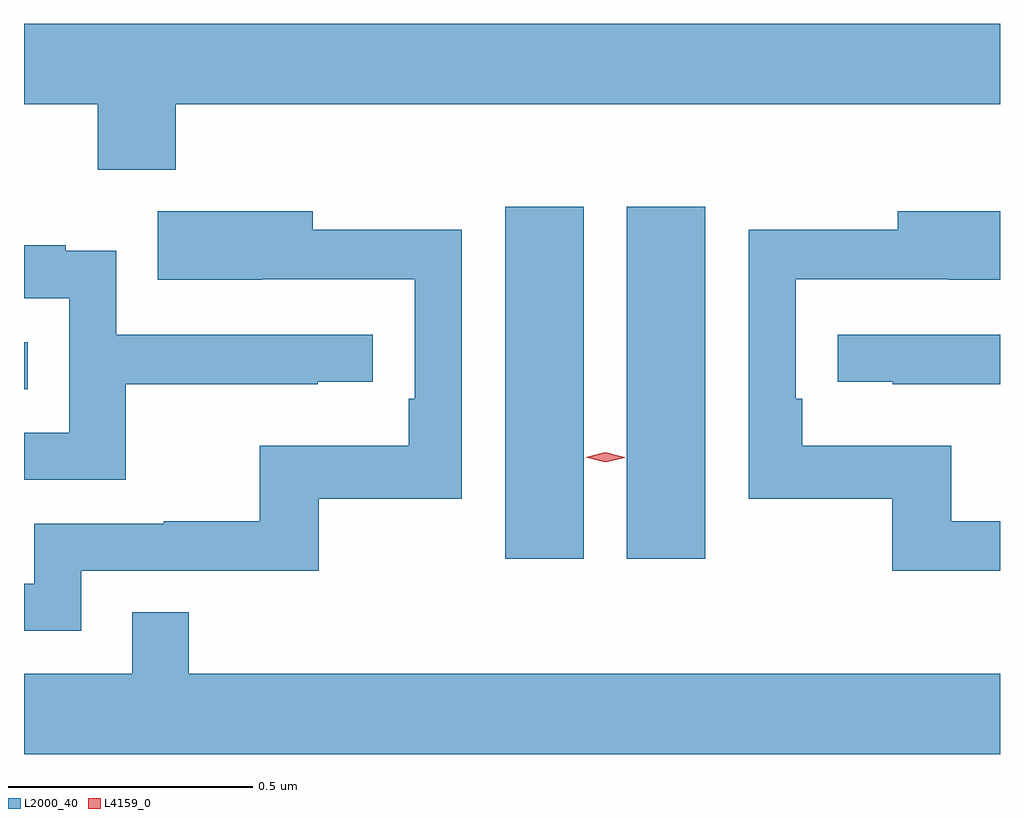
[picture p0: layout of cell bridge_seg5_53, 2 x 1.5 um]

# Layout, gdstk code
import gdstk
lib = gdstk.Library(unit=1e-6, precision=1e-09)
def R(c, l, rs):  # rectangles x0, y0, x1, y1
    for r in rs: c.add(gdstk.rectangle(r[:2], r[2:], *l))
def P(c, l, *ps):  # polygons
    for p in ps: c.add(gdstk.Polygon(p, *l))
L2000_40 = (2000, 40)
L4159_0 = (4159, 0)

bridge_seg5_53 = lib.new_cell('bridge_seg5_53')
R(bridge_seg5_53, L2000_40, [(844.649,877.14,844.81,877.861), (844.898,877.14,845.059,877.861), (843.663,877.488,843.671,877.584)])
P(bridge_seg5_53, L2000_40, [(843.974,878.072),(845.663,878.072),(845.663,878.236),(843.663,878.236),(843.663,878.072),(843.814,878.072),(843.814,877.937),(843.974,877.937)],
  [(843.78,877.116),(844.267,877.116),(844.267,877.263),(844.56,877.263),(844.56,877.814),(844.255,877.814),(844.255,877.852),(843.937,877.852),(843.937,877.712),(844.151,877.712),(844.151,877.713),(844.464,877.713),(844.464,877.468),(844.451,877.468),(844.451,877.372),(844.146,877.372),(844.146,877.217),(843.949,877.217),(843.949,877.212),(843.684,877.212),(843.684,877.089),(843.663,877.089),(843.663,876.993),(843.78,876.993)],
  [(845.663,877.217),(845.563,877.217),(845.563,877.372),(845.258,877.372),(845.258,877.468),(845.244,877.468),(845.244,877.713),(845.557,877.713),(845.557,877.712),(845.663,877.712),(845.663,877.852),(845.453,877.852),(845.453,877.814),(845.148,877.814),(845.148,877.263),(845.442,877.263),(845.442,877.116),(845.663,877.116)],
  [(843.872,877.498),(844.265,877.498),(844.265,877.503),(844.378,877.503),(844.378,877.599),(843.852,877.599),(843.852,877.771),(843.749,877.771),(843.749,877.783),(843.663,877.783),(843.663,877.674),(843.756,877.674),(843.756,877.398),(843.663,877.398),(843.663,877.302),(843.872,877.302)],
  [(845.663,877.599),(845.331,877.599),(845.331,877.503),(845.443,877.503),(845.443,877.498),(845.663,877.498)],
  [(845.663,876.904),(844.001,876.904),(844.001,877.031),(843.885,877.031),(843.885,876.904),(843.663,876.904),(843.663,876.74),(845.663,876.74)])
P(bridge_seg5_53, L4159_0, [(844.854,877.338),(844.814,877.348),(844.814,877.348),(844.814,877.348),(844.854,877.358),(844.894,877.348),(844.894,877.348),(844.894,877.347)])

lib.write_gds('bridge_seg5_53.gds')
